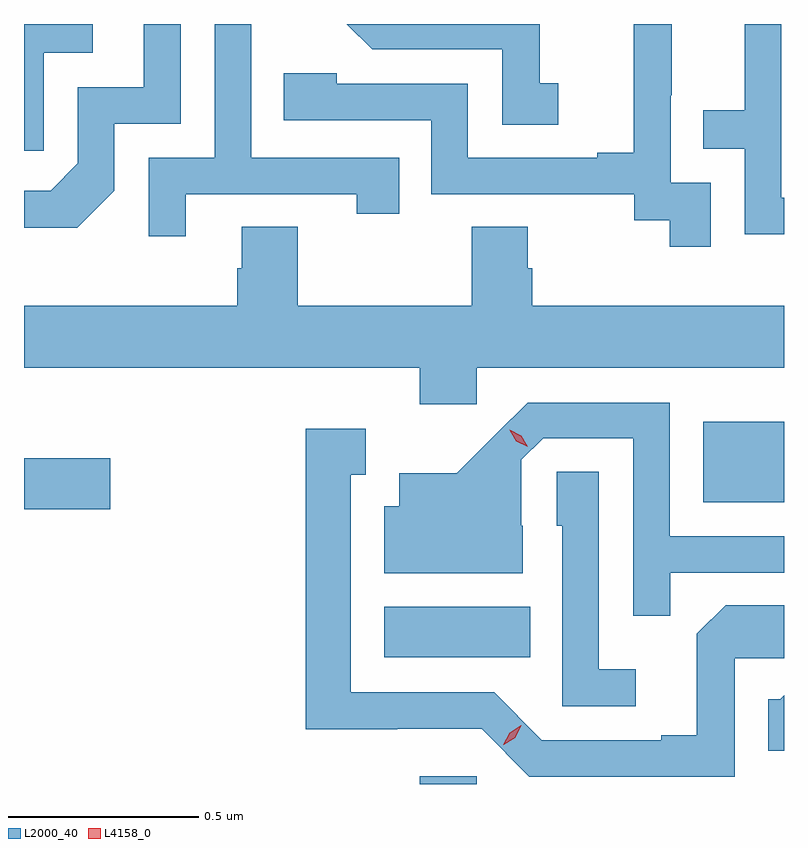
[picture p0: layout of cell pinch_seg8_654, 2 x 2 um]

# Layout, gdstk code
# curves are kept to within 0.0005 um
import gdstk
lib = gdstk.Library(unit=1e-6, precision=1e-09)
def R(c, l, rs):  # rectangles x0, y0, x1, y1
    for r in rs: c.add(gdstk.rectangle(r[:2], r[2:], *l))
def P(c, l, *ps):  # polygons
    for p in ps: c.add(gdstk.Polygon(p, *l))
L2000_40 = (2000, 40)
L4158_0 = (4158, 0)

pinch_seg8_654 = lib.new_cell('pinch_seg8_654')
R(pinch_seg8_654, L2000_40, [(178.979,1086.101,179.13,1086.121), (178.886,1086.434,179.27,1086.568), (177.938,1086.824,178.165,1086.958), (179.726,1086.842,179.938,1087.054)])
P(pinch_seg8_654, L2000_40, [(179.344,1087.945),(179.295,1087.945),(179.295,1088.101),(178.787,1088.101),(178.854,1088.034),(179.196,1088.034),(179.196,1087.836),(179.344,1087.836)],
  [(178.363,1087.653),(178.814,1087.653),(178.814,1087.602),(178.925,1087.602),(178.925,1087.749),(178.536,1087.749),(178.536,1088.101),(178.44,1088.101),(178.44,1087.749),(178.266,1087.749),(178.266,1087.542),(178.363,1087.542)],
  [(179.745,1087.683),(179.64,1087.683),(179.64,1087.913),(179.642,1087.913),(179.642,1088.101),(179.542,1088.101),(179.542,1088.045),(179.543,1088.045),(179.543,1087.762),(179.447,1087.762),(179.447,1087.749),(179.106,1087.749),(179.106,1087.944),(178.761,1087.944),(178.761,1087.971),(178.621,1087.971),(178.621,1087.848),(179.01,1087.848),(179.01,1087.653),(179.544,1087.653),(179.544,1087.585),(179.637,1087.585),(179.637,1087.515),(179.745,1087.515)],
  [(177.99,1088.025),(178.119,1088.025),(178.119,1088.101),(177.938,1088.101),(177.938,1087.767),(177.99,1087.767)],
  [(179.938,1087.644),(179.931,1087.644),(179.931,1088.101),(179.835,1088.101),(179.835,1087.874),(179.725,1087.874),(179.725,1087.773),(179.835,1087.773),(179.835,1087.548),(179.938,1087.548)],
  [(178.176,1087.662),(178.176,1087.839),(178.35,1087.839),(178.35,1088.101),(178.253,1088.101),(178.253,1087.935),(178.08,1087.935),(178.08,1087.734),(178.008,1087.662),(177.938,1087.662),(177.938,1087.565),(178.078,1087.565)],
  [(179.13,1087.196),(179.938,1087.196),(179.938,1087.36),(179.276,1087.36),(179.276,1087.458),(179.263,1087.458),(179.263,1087.568),(179.116,1087.568),(179.116,1087.36),(178.659,1087.36),(178.659,1087.568),(178.511,1087.568),(178.511,1087.458),(178.499,1087.458),(178.499,1087.36),(177.938,1087.36),(177.938,1087.196),(178.979,1087.196),(178.979,1087.101),(179.13,1087.101)],
  [(179.639,1086.657),(179.938,1086.657),(179.938,1086.753),(179.637,1086.753),(179.637,1087.104),(179.264,1087.104),(179.077,1086.919),(178.925,1086.919),(178.925,1086.832),(178.886,1086.832),(178.886,1086.656),(179.251,1086.656),(179.251,1086.78),(179.247,1086.78),(179.247,1086.954),(179.304,1087.011),(179.541,1087.011),(179.541,1086.544),(179.639,1086.544)],
  [(179.808,1086.432),(179.938,1086.432),(179.938,1086.572),(179.785,1086.572),(179.709,1086.496),(179.709,1086.229),(179.615,1086.229),(179.615,1086.216),(179.301,1086.216),(179.175,1086.342),(178.798,1086.342),(178.798,1086.915),(178.837,1086.915),(178.837,1087.036),(178.68,1087.036),(178.68,1086.245),(178.92,1086.245),(178.92,1086.246),(179.142,1086.246),(179.268,1086.12),(179.808,1086.12)],
  [(179.548,1086.403),(179.451,1086.403),(179.451,1086.923),(179.34,1086.923),(179.34,1086.78),(179.355,1086.78),(179.355,1086.306),(179.548,1086.306)],
  [(179.938,1086.334),(179.928,1086.324),(179.897,1086.324),(179.897,1086.188),(179.938,1086.188)])
P(pinch_seg8_654, L4158_0, [(179.264,1086.988),(179.234,1087.003),(179.216,1087.032),(179.216,1087.033),(179.216,1087.033),(179.247,1087.018),(179.264,1086.988),(179.264,1086.988)],
  [(179.199,1086.204),(179.199,1086.204),(179.216,1086.236),(179.247,1086.255),(179.247,1086.255),(179.247,1086.255),(179.231,1086.223),(179.2,1086.204)])

lib.write_gds('pinch_seg8_654.gds')
